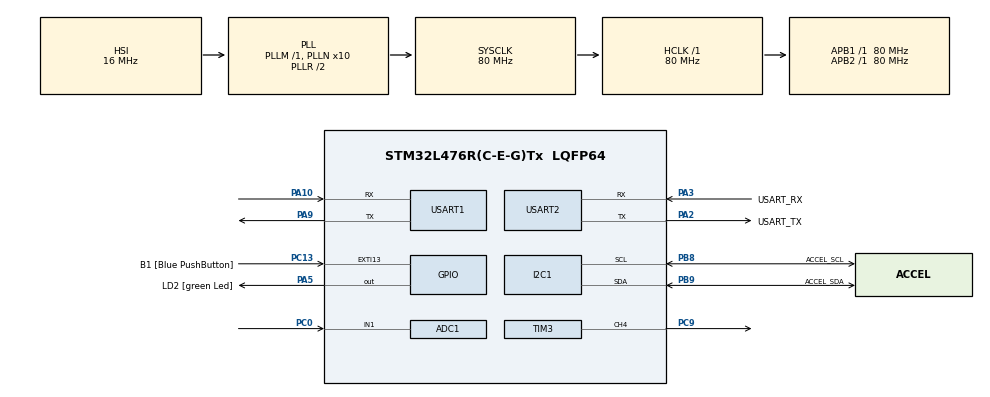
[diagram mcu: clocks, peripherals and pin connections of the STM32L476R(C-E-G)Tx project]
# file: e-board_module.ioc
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ADC1.Channel-3\#ChannelRegularConversion=ADC_CHANNEL_1
ADC1.NbrOfConversionFlag=1
ADC1.OffsetNumber-3\#ChannelRegularConversion=ADC_OFFSET_NONE
ADC1.Rank-3\#ChannelRegularConversion=1
ADC1.SamplingTime-3\#ChannelRegularConversion=ADC_SAMPLETIME_2CYCLES_5
ADC1.master=1
Dma.I2C1_RX.1.Direction=DMA_PERIPH_TO_MEMORY
Dma.I2C1_RX.1.Instance=DMA1_Channel7
Dma.I2C1_RX.1.MemDataAlignment=DMA_MDATAALIGN_BYTE
Dma.I2C1_RX.1.MemInc=DMA_MINC_ENABLE
Dma.I2C1_RX.1.Mode=DMA_NORMAL
Dma.I2C1_RX.1.PeriphDataAlignment=DMA_PDATAALIGN_BYTE
Dma.I2C1_RX.1.PeriphInc=DMA_PINC_DISABLE
Dma.I2C1_RX.1.Priority=DMA_PRIORITY_LOW
Dma.Request0=USART1_RX
Dma.Request1=I2C1_RX
Dma.USART1_RX.0.Direction=DMA_PERIPH_TO_MEMORY
Dma.USART1_RX.0.Instance=DMA1_Channel5
Dma.USART1_RX.0.MemDataAlignment=DMA_MDATAALIGN_BYTE
Dma.USART1_RX.0.MemInc=DMA_MINC_ENABLE
Dma.USART1_RX.0.Mode=DMA_NORMAL
Dma.USART1_RX.0.PeriphDataAlignment=DMA_PDATAALIGN_BYTE
Dma.USART1_RX.0.PeriphInc=DMA_PINC_DISABLE
Dma.USART1_RX.0.Priority=DMA_PRIORITY_HIGH
FREERTOS.Tasks01=defaultTask,24,128,StartDefaultTask,Default,NULL,Dynamic,NULL,NULL;readThrottle,32,128,ReadThrottle,Default,NULL,Dynamic,NULL,NULL;sendSpeed,8,128,SendSpeed,Default,NULL,Dynamic,NULL,NULL;accelUpdateTask,8,128,startAccelUpdateTask,Default,NULL,Dynamic,NULL,NULL
FREERTOS.configUSE_NEWLIB_REENTRANT=1
I2C1.Timing=0x10909CEC
Mcu.Family=STM32L4
Mcu.Name=STM32L476R(C-E-G)Tx
Mcu.Package=LQFP64
NVIC.DMA1_Channel5_IRQn=true\:5\:0\:false\:false\:true\:true\:false\:true\:true
NVIC.DMA1_Channel7_IRQn=true\:5\:0\:false\:false\:true\:true\:false\:true\:true
NVIC.PriorityGroup=NVIC_PRIORITYGROUP_4
NVIC.TIM6_DAC_IRQn=true\:15\:0\:false\:false\:true\:false\:false\:true\:true
NVIC.TIM7_IRQn=true\:5\:0\:false\:false\:true\:true\:true\:true\:true
NVIC.TimeBase=TIM6_DAC_IRQn
NVIC.TimeBaseIP=TIM6
NVIC.USART1_IRQn=true\:5\:0\:false\:false\:true\:true\:true\:true\:true
PA10.Mode=Asynchronous
PA10.Signal=USART1_RX
PA13\ (JTMS-SWDIO).GPIO_Label=TMS
PA13\ (JTMS-SWDIO).Mode=Serial_Wire
PA13\ (JTMS-SWDIO).Signal=SYS_JTMS-SWDIO
PA14\ (JTCK-SWCLK).GPIO_Label=TCK
PA14\ (JTCK-SWCLK).Mode=Serial_Wire
PA14\ (JTCK-SWCLK).Signal=SYS_JTCK-SWCLK
PA2.GPIO_Label=USART_TX
PA2.GPIO_Mode=GPIO_MODE_AF_PP
PA2.GPIO_PuPd=GPIO_NOPULL
PA2.GPIO_Speed=GPIO_SPEED_FREQ_VERY_HIGH
PA2.Mode=Asynchronous
PA2.Signal=USART2_TX
PA3.GPIO_Label=USART_RX
PA3.GPIO_Mode=GPIO_MODE_AF_PP
PA3.GPIO_PuPd=GPIO_NOPULL
PA3.GPIO_Speed=GPIO_SPEED_FREQ_VERY_HIGH
PA3.Mode=Asynchronous
PA3.Signal=USART2_RX
PA5.GPIO_Label=LD2 [green Led]
PA5.GPIO_ModeDefaultOutputPP=GPIO_MODE_OUTPUT_PP
PA5.GPIO_PuPd=GPIO_NOPULL
PA5.GPIO_Speed=GPIO_SPEED_FREQ_LOW
PA5.Signal=GPIO_Output
PA9.Mode=Asynchronous
PA9.Signal=USART1_TX
PB3\ (JTDO-TRACESWO).GPIO_Label=SWO
PB3\ (JTDO-TRACESWO).Signal=SYS_JTDO-SWO
PB8.GPIO_Label=ACCEL_SCL
PB8.Mode=I2C
PB8.Signal=I2C1_SCL
PB9.GPIO_Label=ACCEL_SDA
PB9.Mode=I2C
PB9.Signal=I2C1_SDA
PC0.Signal=ADCx_IN1
PC13.GPIO_Label=B1 [Blue PushButton]
PC13.GPIO_ModeDefaultEXTI=GPIO_MODE_IT_FALLING
PC13.GPIO_PuPd=GPIO_NOPULL
PC13.Signal=GPXTI13
PC14-OSC32_IN\ (PC14).Mode=LSE-External-Oscillator
PC14-OSC32_IN\ (PC14).Signal=RCC_OSC32_IN
PC15-OSC32_OUT\ (PC15).Mode=LSE-External-Oscillator
PC15-OSC32_OUT\ (PC15).Signal=RCC_OSC32_OUT
PC9.Signal=S_TIM3_CH4
PH0-OSC_IN\ (PH0).Signal=RCC_OSC_IN
PH1-OSC_OUT\ (PH1).Signal=RCC_OSC_OUT
ProjectManager.HeapSize=0x200
ProjectManager.StackSize=0x400
ProjectManager.TargetToolchain=STM32CubeIDE
RCC.ADCFreq_Value=64000000
RCC.AHBFreq_Value=80000000
RCC.APB1Freq_Value=80000000
RCC.APB1TimFreq_Value=80000000
RCC.APB2Freq_Value=80000000
RCC.APB2TimFreq_Value=80000000
RCC.CortexFreq_Value=80000000
RCC.HCLKFreq_Value=80000000
RCC.HSE_VALUE=8000000
RCC.HSI_VALUE=16000000
RCC.MSI_VALUE=4000000
RCC.PLLN=10
RCC.PLLSourceVirtual=RCC_PLLSOURCE_HSI
RCC.PREFETCH_ENABLE=1
RCC.SYSCLKFreq_VALUE=80000000
RCC.SYSCLKSource=RCC_SYSCLKSOURCE_PLLCLK
RCC.USBFreq_Value=64000000
RCC.VCOOutputFreq_Value=160000000
SH.ADCx_IN1.0=ADC1_IN1,IN1-Single-Ended
SH.S_TIM3_CH4.0=TIM3_CH4,PWM Generation4 CH4
TIM2.AutoReloadPreload=TIM_AUTORELOAD_PRELOAD_ENABLE
TIM2.ClockDivision=TIM_CLOCKDIVISION_DIV4
TIM2.Period=0xffffffff
TIM2.Prescaler=10000-1
TIM3.AutoReloadPreload=TIM_AUTORELOAD_PRELOAD_ENABLE
TIM3.Channel-PWM\ Generation4\ CH4=TIM_CHANNEL_4
TIM3.Period=1600-1
TIM3.Prescaler=1000-1
TIM7.Period=6000-1
TIM7.Prescaler=65000-1
USART1.VirtualMode-Asynchronous=VM_ASYNC
USART2.VirtualMode-Asynchronous=VM_ASYNC
VP_FREERTOS_VS_CMSIS_V2.Mode=CMSIS_V2
VP_SYS_VS_tim6.Mode=TIM6
VP_TIM2_VS_ClockSourceINT.Mode=Internal
VP_TIM3_VS_ClockSourceINT.Mode=Internal
VP_TIM7_VS_ClockSourceINT.Mode=Enable_Timer
board=NUCLEO-L476RG

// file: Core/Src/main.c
/* USER CODE BEGIN Header */
/**
  ******************************************************************************
  * @file           : main.c
  * @brief          : Main program body
  ******************************************************************************
  * @attention
  *
  * Copyright (c) 2023 STMicroelectronics.
  * All rights reserved.
  *
  * This software is licensed under terms that can be found in the LICENSE file
  * in the root directory of this software component.
  * If no LICENSE file comes with this software, it is provided AS-IS.
  *
  ******************************************************************************
  */
/* USER CODE END Header */
#include "main.h"
#include "cmsis_os.h"

/* USER CODE BEGIN Includes */
#include <string.h>
#include <stdio.h>
#include <math.h>
#include <stdbool.h>
#include "spatial-lib/include/interface.h"
/* USER CODE END Includes */

/* USER CODE BEGIN PM */
#define I2C_DELAY 50			 // I2C Delay 50ms
#define STM_LORA_ADDRESS 24      // Address of the STM Lora chip
#define ESP_LORA_ADDRESS 25      // Address of the ESP Lora chip
#define Min_PWM 80			 	 // PWM signal at 80 is 0 throttle for the ESC
#define Max_PWM 160		 		 // PWM signal at 160 is full throttle for the ESC
#define Min_Throttle 0			 // 0 throttle
#define Max_Throttle 80			 // 80 is the max throttle to add to the PWM
#define LORA_BUFFER_SIZE 105
/* USER CODE END PM */

ADC_HandleTypeDef hadc1;

I2C_HandleTypeDef hi2c1;
DMA_HandleTypeDef hdma_i2c1_rx;

TIM_HandleTypeDef htim2;
TIM_HandleTypeDef htim3;
TIM_HandleTypeDef htim7;

UART_HandleTypeDef huart1;
UART_HandleTypeDef huart2;
DMA_HandleTypeDef hdma_usart1_rx;

/* Definitions for defaultTask */
osThreadId_t defaultTaskHandle;
const osThreadAttr_t defaultTask_attributes = {
  .name = "defaultTask",
  .stack_size = 128 * 4,
  .priority = (osPriority_t) osPriorityNormal,
};
/* Definitions for readThrottle */
osThreadId_t readThrottleHandle;
const osThreadAttr_t readThrottle_attributes = {
  .name = "readThrottle",
  .stack_size = 128 * 4,
  .priority = (osPriority_t) osPriorityAboveNormal,
};
/* Definitions for sendSpeed */
osThreadId_t sendSpeedHandle;
const osThreadAttr_t sendSpeed_attributes = {
  .name = "sendSpeed",
  .stack_size = 128 * 4,
  .priority = (osPriority_t) osPriorityLow,
};
/* Definitions for accelUpdateTask */
osThreadId_t accelUpdateTaskHandle;
const osThreadAttr_t accelUpdateTask_attributes = {
  .name = "accelUpdateTask",
  .stack_size = 128 * 4,
  .priority = (osPriority_t) osPriorityLow,
};
/* USER CODE BEGIN PV */
char UART1_rxBuffer[LORA_BUFFER_SIZE]; // Raw data from LORA RX
char receive_data[4];    // Data stripped from LORA RX
int throttle;
float speed;
/* USER CODE END PV */

void SystemClock_Config(void);
static void MX_GPIO_Init(void);
static void MX_DMA_Init(void);
static void MX_USART2_UART_Init(void);
static void MX_TIM3_Init(void);
static void MX_ADC1_Init(void);
static void MX_I2C1_Init(void);
static void MX_TIM2_Init(void);
static void MX_USART1_UART_Init(void);
static void MX_TIM7_Init(void);
void StartDefaultTask(void *argument);
void ReadThrottle(void *argument);
void SendSpeed(void *argument);
void startAccelUpdateTask(void *argument);

/* USER CODE BEGIN PFP */
void Lora_Init(void);
void Lora_Send_Data(char data[]);
void Parse_Recieve_Data(void);
void Smooth_Speed(int tempThrottle);
void Error_Slow_Down(void);
/* USER CODE END PFP */

int main(void)
{

  /* MCU Configuration--------------------------------------------------------*/

  /* Reset of all peripherals, Initializes the Flash interface and the Systick. */
  HAL_Init();

  /* Configure the system clock */
  SystemClock_Config();

  /* Initialize all configured peripherals */
  MX_GPIO_Init();
  MX_DMA_Init();
  MX_USART2_UART_Init();
  MX_TIM3_Init();
  MX_ADC1_Init();
  MX_I2C1_Init();
  MX_TIM2_Init();
  MX_USART1_UART_Init();
  MX_TIM7_Init();
  /* USER CODE BEGIN 2 */

  // Start the longboard by initializing the motor throttle to 0
  char StartMsg[100];
  sprintf(StartMsg, "\r\nStarting the LongBoard!\r\n");
  HAL_UART_Transmit(&huart2, StartMsg, strlen(StartMsg), 50);
  HAL_TIM_PWM_Start(&htim3, TIM_CHANNEL_4);
  TIM3->CCR4 =  Min_PWM;
  HAL_Delay(5000);

  init_spatial(&hi2c1, &huart2);
  sprintf(StartMsg, "\r\nInitialized Accelerometer!\r\n");
  HAL_UART_Transmit(&huart2, StartMsg, strlen(StartMsg), 50);

  sprintf(StartMsg, "\r\nInitialized Throttle!\r\n");
  HAL_UART_Transmit(&huart2, StartMsg, strlen(StartMsg), 50);
  throttle = Min_Throttle;

  Lora_Init();
  sprintf(StartMsg, "\r\nInitialized LORA!\r\n");
  HAL_UART_Transmit(&huart2, StartMsg, strlen(StartMsg), 50);
  /* USER CODE END 2 */

  /* Init scheduler */
  osKernelInitialize();

  /* Create the thread(s) */
  /* creation of defaultTask */
  defaultTaskHandle = osThreadNew(StartDefaultTask, NULL, &defaultTask_attributes);

  /* creation of readThrottle */
  readThrottleHandle = osThreadNew(ReadThrottle, NULL, &readThrottle_attributes);

  /* creation of sendSpeed */
  sendSpeedHandle = osThreadNew(SendSpeed, NULL, &sendSpeed_attributes);

  /* creation of accelUpdateTask */
  accelUpdateTaskHandle = osThreadNew(startAccelUpdateTask, NULL, &accelUpdateTask_attributes);

  /* Start scheduler */
  osKernelStart();

  /* We should never get here as control is now taken by the scheduler */
  /* Infinite loop */
  while (1)
  {

  }
}

void SystemClock_Config(void)
{
  RCC_OscInitTypeDef RCC_OscInitStruct = {0};
  RCC_ClkInitTypeDef RCC_ClkInitStruct = {0};

  /** Configure the main internal regulator output voltage
  */
  if (HAL_PWREx_ControlVoltageScaling(PWR_REGULATOR_VOLTAGE_SCALE1) != HAL_OK)
  {
    Error_Handler();
  }

  /** Initializes the RCC Oscillators according to the specified parameters
  * in the RCC_OscInitTypeDef structure.
  */
  RCC_OscInitStruct.OscillatorType = RCC_OSCILLATORTYPE_HSI;
  RCC_OscInitStruct.HSIState = RCC_HSI_ON;
  RCC_OscInitStruct.HSICalibrationValue = RCC_HSICALIBRATION_DEFAULT;
  RCC_OscInitStruct.PLL.PLLState = RCC_PLL_ON;
  RCC_OscInitStruct.PLL.PLLSource = RCC_PLLSOURCE_HSI;
  RCC_OscInitStruct.PLL.PLLM = 1;
  RCC_OscInitStruct.PLL.PLLN = 10;
  RCC_OscInitStruct.PLL.PLLP = RCC_PLLP_DIV7;
  RCC_OscInitStruct.PLL.PLLQ = RCC_PLLQ_DIV2;
  RCC_OscInitStruct.PLL.PLLR = RCC_PLLR_DIV2;
  if (HAL_RCC_OscConfig(&RCC_OscInitStruct) != HAL_OK)
  {
    Error_Handler();
  }

  /** Initializes the CPU, AHB and APB buses clocks
  */
  RCC_ClkInitStruct.ClockType = RCC_CLOCKTYPE_HCLK|RCC_CLOCKTYPE_SYSCLK
                              |RCC_CLOCKTYPE_PCLK1|RCC_CLOCKTYPE_PCLK2;
  RCC_ClkInitStruct.SYSCLKSource = RCC_SYSCLKSOURCE_PLLCLK;
  RCC_ClkInitStruct.AHBCLKDivider = RCC_SYSCLK_DIV1;
  RCC_ClkInitStruct.APB1CLKDivider = RCC_HCLK_DIV1;
  RCC_ClkInitStruct.APB2CLKDivider = RCC_HCLK_DIV1;

  if (HAL_RCC_ClockConfig(&RCC_ClkInitStruct, FLASH_LATENCY_4) != HAL_OK)
  {
    Error_Handler();
  }
}

static void MX_ADC1_Init(void)
{

  ADC_MultiModeTypeDef multimode = {0};
  ADC_ChannelConfTypeDef sConfig = {0};

  /** Common config
  */
  hadc1.Instance = ADC1;
  hadc1.Init.ClockPrescaler = ADC_CLOCK_ASYNC_DIV1;
  hadc1.Init.Resolution = ADC_RESOLUTION_12B;
  hadc1.Init.DataAlign = ADC_DATAALIGN_RIGHT;
  hadc1.Init.ScanConvMode = ADC_SCAN_DISABLE;
  hadc1.Init.EOCSelection = ADC_EOC_SINGLE_CONV;
  hadc1.Init.LowPowerAutoWait = DISABLE;
  hadc1.Init.ContinuousConvMode = DISABLE;
  hadc1.Init.NbrOfConversion = 1;
  hadc1.Init.DiscontinuousConvMode = DISABLE;
  hadc1.Init.ExternalTrigConv = ADC_SOFTWARE_START;
  hadc1.Init.ExternalTrigConvEdge = ADC_EXTERNALTRIGCONVEDGE_NONE;
  hadc1.Init.DMAContinuousRequests = DISABLE;
  hadc1.Init.Overrun = ADC_OVR_DATA_PRESERVED;
  hadc1.Init.OversamplingMode = DISABLE;
  if (HAL_ADC_Init(&hadc1) != HAL_OK)
  {
    Error_Handler();
  }

  /** Configure the ADC multi-mode
  */
  multimode.Mode = ADC_MODE_INDEPENDENT;
  if (HAL_ADCEx_MultiModeConfigChannel(&hadc1, &multimode) != HAL_OK)
  {
    Error_Handler();
  }

  /** Configure Regular Channel
  */
  sConfig.Channel = ADC_CHANNEL_1;
  sConfig.Rank = ADC_REGULAR_RANK_1;
  sConfig.SamplingTime = ADC_SAMPLETIME_2CYCLES_5;
  sConfig.SingleDiff = ADC_SINGLE_ENDED;
  sConfig.OffsetNumber = ADC_OFFSET_NONE;
  sConfig.Offset = 0;
  if (HAL_ADC_ConfigChannel(&hadc1, &sConfig) != HAL_OK)
  {
    Error_Handler();
  }

}

static void MX_I2C1_Init(void)
{

  hi2c1.Instance = I2C1;
  hi2c1.Init.Timing = 0x10909CEC;
  hi2c1.Init.OwnAddress1 = 0;
  hi2c1.Init.AddressingMode = I2C_ADDRESSINGMODE_7BIT;
  hi2c1.Init.DualAddressMode = I2C_DUALADDRESS_DISABLE;
  hi2c1.Init.OwnAddress2 = 0;
  hi2c1.Init.OwnAddress2Masks = I2C_OA2_NOMASK;
  hi2c1.Init.GeneralCallMode = I2C_GENERALCALL_DISABLE;
  hi2c1.Init.NoStretchMode = I2C_NOSTRETCH_DISABLE;
  if (HAL_I2C_Init(&hi2c1) != HAL_OK)
  {
    Error_Handler();
  }

  /** Configure Analogue filter
  */
  if (HAL_I2CEx_ConfigAnalogFilter(&hi2c1, I2C_ANALOGFILTER_ENABLE) != HAL_OK)
  {
    Error_Handler();
  }

  /** Configure Digital filter
  */
  if (HAL_I2CEx_ConfigDigitalFilter(&hi2c1, 0) != HAL_OK)
  {
    Error_Handler();
  }

}

static void MX_TIM2_Init(void)
{

  TIM_ClockConfigTypeDef sClockSourceConfig = {0};
  TIM_MasterConfigTypeDef sMasterConfig = {0};

  htim2.Instance = TIM2;
  htim2.Init.Prescaler = 10000-1;
  htim2.Init.CounterMode = TIM_COUNTERMODE_UP;
  htim2.Init.Period = 0xffffffff;
  htim2.Init.ClockDivision = TIM_CLOCKDIVISION_DIV4;
  htim2.Init.AutoReloadPreload = TIM_AUTORELOAD_PRELOAD_ENABLE;
  if (HAL_TIM_Base_Init(&htim2) != HAL_OK)
  {
    Error_Handler();
  }
  sClockSourceConfig.ClockSource = TIM_CLOCKSOURCE_INTERNAL;
  if (HAL_TIM_ConfigClockSource(&htim2, &sClockSourceConfig) != HAL_OK)
  {
    Error_Handler();
  }
  sMasterConfig.MasterOutputTrigger = TIM_TRGO_RESET;
  sMasterConfig.MasterSlaveMode = TIM_MASTERSLAVEMODE_DISABLE;
  if (HAL_TIMEx_MasterConfigSynchronization(&htim2, &sMasterConfig) != HAL_OK)
  {
    Error_Handler();
  }

}

static void MX_TIM3_Init(void)
{

  TIM_ClockConfigTypeDef sClockSourceConfig = {0};
  TIM_MasterConfigTypeDef sMasterConfig = {0};
  TIM_OC_InitTypeDef sConfigOC = {0};

  htim3.Instance = TIM3;
  htim3.Init.Prescaler = 1000-1;
  htim3.Init.CounterMode = TIM_COUNTERMODE_UP;
  htim3.Init.Period = 1600-1;
  htim3.Init.ClockDivision = TIM_CLOCKDIVISION_DIV1;
  htim3.Init.AutoReloadPreload = TIM_AUTORELOAD_PRELOAD_ENABLE;
  if (HAL_TIM_Base_Init(&htim3) != HAL_OK)
  {
    Error_Handler();
  }
  sClockSourceConfig.ClockSource = TIM_CLOCKSOURCE_INTERNAL;
  if (HAL_TIM_ConfigClockSource(&htim3, &sClockSourceConfig) != HAL_OK)
  {
    Error_Handler();
  }
  if (HAL_TIM_PWM_Init(&htim3) != HAL_OK)
  {
    Error_Handler();
  }
  sMasterConfig.MasterOutputTrigger = TIM_TRGO_RESET;
  sMasterConfig.MasterSlaveMode = TIM_MASTERSLAVEMODE_DISABLE;
  if (HAL_TIMEx_MasterConfigSynchronization(&htim3, &sMasterConfig) != HAL_OK)
  {
    Error_Handler();
  }
  sConfigOC.OCMode = TIM_OCMODE_PWM1;
  sConfigOC.Pulse = 0;
  sConfigOC.OCPolarity = TIM_OCPOLARITY_HIGH;
  sConfigOC.OCFastMode = TIM_OCFAST_DISABLE;
  if (HAL_TIM_PWM_ConfigChannel(&htim3, &sConfigOC, TIM_CHANNEL_4) != HAL_OK)
  {
    Error_Handler();
  }
  HAL_TIM_MspPostInit(&htim3);

}

static void MX_TIM7_Init(void)
{

  TIM_MasterConfigTypeDef sMasterConfig = {0};

  htim7.Instance = TIM7;
  htim7.Init.Prescaler = 65000-1;
  htim7.Init.CounterMode = TIM_COUNTERMODE_UP;
  htim7.Init.Period = 6000-1;
  htim7.Init.AutoReloadPreload = TIM_AUTORELOAD_PRELOAD_DISABLE;
  if (HAL_TIM_Base_Init(&htim7) != HAL_OK)
  {
    Error_Handler();
  }
  sMasterConfig.MasterOutputTrigger = TIM_TRGO_RESET;
  sMasterConfig.MasterSlaveMode = TIM_MASTERSLAVEMODE_DISABLE;
  if (HAL_TIMEx_MasterConfigSynchronization(&htim7, &sMasterConfig) != HAL_OK)
  {
    Error_Handler();
  }

}

static void MX_USART1_UART_Init(void)
{

  huart1.Instance = USART1;
  huart1.Init.BaudRate = 115200;
  huart1.Init.WordLength = UART_WORDLENGTH_8B;
  huart1.Init.StopBits = UART_STOPBITS_1;
  huart1.Init.Parity = UART_PARITY_NONE;
  huart1.Init.Mode = UART_MODE_TX_RX;
  huart1.Init.HwFlowCtl = UART_HWCONTROL_NONE;
  huart1.Init.OverSampling = UART_OVERSAMPLING_16;
  huart1.Init.OneBitSampling = UART_ONE_BIT_SAMPLE_DISABLE;
  huart1.AdvancedInit.AdvFeatureInit = UART_ADVFEATURE_NO_INIT;
  if (HAL_UART_Init(&huart1) != HAL_OK)
  {
    Error_Handler();
  }

}

static void MX_USART2_UART_Init(void)
{

  huart2.Instance = USART2;
  huart2.Init.BaudRate = 115200;
  huart2.Init.WordLength = UART_WORDLENGTH_8B;
  huart2.Init.StopBits = UART_STOPBITS_1;
  huart2.Init.Parity = UART_PARITY_NONE;
  huart2.Init.Mode = UART_MODE_TX_RX;
  huart2.Init.HwFlowCtl = UART_HWCONTROL_NONE;
  huart2.Init.OverSampling = UART_OVERSAMPLING_16;
  huart2.Init.OneBitSampling = UART_ONE_BIT_SAMPLE_DISABLE;
  huart2.AdvancedInit.AdvFeatureInit = UART_ADVFEATURE_NO_INIT;
  if (HAL_UART_Init(&huart2) != HAL_OK)
  {
    Error_Handler();
  }

}

static void MX_DMA_Init(void)
{

  /* DMA controller clock enable */
  __HAL_RCC_DMA1_CLK_ENABLE();

  /* DMA interrupt init */
  /* DMA1_Channel5_IRQn interrupt configuration */
  HAL_NVIC_SetPriority(DMA1_Channel5_IRQn, 5, 0);
  HAL_NVIC_EnableIRQ(DMA1_Channel5_IRQn);
  /* DMA1_Channel7_IRQn interrupt configuration */
  HAL_NVIC_SetPriority(DMA1_Channel7_IRQn, 5, 0);
  HAL_NVIC_EnableIRQ(DMA1_Channel7_IRQn);

}

static void MX_GPIO_Init(void)
{
  GPIO_InitTypeDef GPIO_InitStruct = {0};

  /* GPIO Ports Clock Enable */
  __HAL_RCC_GPIOC_CLK_ENABLE();
  __HAL_RCC_GPIOH_CLK_ENABLE();
  __HAL_RCC_GPIOA_CLK_ENABLE();
  __HAL_RCC_GPIOB_CLK_ENABLE();

  /*Configure GPIO pin Output Level */
  HAL_GPIO_WritePin(LD2_GPIO_Port, LD2_Pin, GPIO_PIN_RESET);

  /*Configure GPIO pin : B1_Pin */
  GPIO_InitStruct.Pin = B1_Pin;
  GPIO_InitStruct.Mode = GPIO_MODE_IT_FALLING;
  GPIO_InitStruct.Pull = GPIO_NOPULL;
  HAL_GPIO_Init(B1_GPIO_Port, &GPIO_InitStruct);

  /*Configure GPIO pin : LD2_Pin */
  GPIO_InitStruct.Pin = LD2_Pin;
  GPIO_InitStruct.Mode = GPIO_MODE_OUTPUT_PP;
  GPIO_InitStruct.Pull = GPIO_NOPULL;
  GPIO_InitStruct.Speed = GPIO_SPEED_FREQ_LOW;
  HAL_GPIO_Init(LD2_GPIO_Port, &GPIO_InitStruct);

}

/* USER CODE BEGIN 4 */

void Lora_Init(void)
{
	// Set LORA Chip To Transmit/Receive Mode
	char msg[100] = "";
	// Sets Parameters to:
	// Spreading Factor: 7
	// Bandwidth: 500 KHz
	// Coding Rate: 1
	// Programmed Preamble: 10
	// This favors speed over dependabilitySerial2.println("AT+PARAMETER=7,9,1,4");
	sprintf(msg, "AT+PARAMETER=10,8,1,4\r\n");
	HAL_UART_Transmit(&huart1, (uint8_t*)msg, strlen(msg), HAL_MAX_DELAY);
	HAL_Delay(1000);

	// Sets LORA Chip address to 24
	sprintf(msg, "AT+ADDRESS=24\r\n");
	HAL_UART_Transmit(&huart1, (uint8_t*)msg, strlen(msg), HAL_MAX_DELAY);
	HAL_Delay(500);

	// Reads back address to verify setup
	sprintf(msg, "AT+NETWORKID=3\r\n");
	HAL_UART_Transmit(&huart1, (uint8_t*)msg, strlen(msg), HAL_MAX_DELAY);
	HAL_Delay(500);

	sprintf(msg, "AT+CPIN?\r\n");
	HAL_UART_Transmit(&huart1, (uint8_t*)msg, strlen(msg), HAL_MAX_DELAY);
	HAL_Delay(500);

	sprintf(msg, "AT+CRFOP?\r\n");
	HAL_UART_Transmit(&huart1, (uint8_t*)msg, strlen(msg), HAL_MAX_DELAY);
	HAL_Delay(500);

	sprintf(msg, "AT+ADDRESS?\r\n");
	HAL_UART_Transmit(&huart1, (uint8_t*)msg, strlen(msg), HAL_MAX_DELAY);
	HAL_Delay(500);

	sprintf(msg, "AT+NETWORKID?\r\n");
	HAL_UART_Transmit(&huart1, (uint8_t*)msg, strlen(msg), HAL_MAX_DELAY);
	HAL_Delay(500);

	sprintf(msg, "AT+BAND?\r\n");
	HAL_UART_Transmit(&huart1, (uint8_t*)msg, strlen(msg), HAL_MAX_DELAY);
	HAL_Delay(500);

	sprintf(msg, "AT+MODE=0\r\n");
	HAL_UART_Transmit(&huart1, (uint8_t*)msg, strlen(msg), HAL_MAX_DELAY);
	HAL_Delay(500);
}

void Lora_Send_Data(char data[])
{
	// Combines message to be sent with the data passed in
	char LoraMsg[100];
	sprintf(LoraMsg, "AT+SEND=%i,%i,%s\r\n", ESP_LORA_ADDRESS, strlen(data), data);
	HAL_UART_Transmit(&huart1, LoraMsg, strlen(LoraMsg), 50);
	osThreadSuspend(readThrottleHandle);
	osDelay(200);
	osThreadResume(readThrottleHandle);

}

void Parse_Recieve_Data(void)
{
	// Find the position of "T" in the array
		bool good = true;

	    char *start = strrchr(UART1_rxBuffer, 'T');

	    // Check if "T" is found
	    if (start != NULL)
	    {
	    	buffer_print(start, "str from start of parse");
	        // Find the position of the next comma after "S"
	        char *end = strchr(start, ',');

	        // Check if the comma is found
	        if (end != NULL)
	        {

	        	char *error = strchr(receive_data, '-');
	        	if (error != NULL)
	        	{
	        		good = false;
	        	}
	        	error = strchr(receive_data, '+');
	        	if (error != NULL)
	        	{
	        		good = false;
	        	}
	        	error = strchr(receive_data, '=');
	        	if (error != NULL)
	        	{
	        		good = false;
	        	}
	        	error = strchr(receive_data, ',');
	        	if (error != NULL)
	        	{
	        		good = false;
	        	}
	        	error = strchr(receive_data, ' ');
	        	if (error != NULL)
	        	{
	        		good = false;
	        	}

	        	if (good)
	        	{
	        		// Calculate the length of the substring
	        		size_t length = end - start;
	        		if (length > 4)
	        			return;

	        		// Copy the substring to the buffer
	        		strncpy(receive_data, start, length);

	        		// Null-terminate the buffer
	        		receive_data[length] = '\0';
	        	}

	        }
	    }
}

// Get stored time in timer 2 in terms of seconds
double get_timestep() {
	long double cur_time = TIM2->CNT;
	// Reset timer for next call
	TIM2->CNT = 0;
	// Division to make time in terms of seconds
	cur_time /= 8000;
	return (double)cur_time;
}

void buffer_print(void* buffer, const char* msg) {
	uint8_t modded_buffer[strlen(buffer) + strlen(msg)];
	sprintf(modded_buffer, "%s: %s\r\n", msg, buffer);
	HAL_UART_Transmit(&huart2, modded_buffer, strlen(modded_buffer), HAL_MAX_DELAY);
}

HAL_StatusTypeDef receive_lora_packet()
{
	bool received_new_packet = false;
	while (!received_new_packet) {
	    HAL_UART_Receive_DMA(&huart1, (uint8_t*)UART1_rxBuffer, 1);
	    if (UART1_rxBuffer[0] == '+')
	    	break;
	}
    HAL_UART_Receive_DMA(&huart1, (uint8_t*)UART1_rxBuffer, LORA_BUFFER_SIZE - 2);
//    buffer_print(UART1_rxBuffer, "rcv portion");
    // Packets MUST be from address 25 and have a length of 3 bytes or they will be discarded
    UART1_rxBuffer[LORA_BUFFER_SIZE - 1] = 0;
    if (UART1_rxBuffer[LORA_BUFFER_SIZE - 2] == 'T')
    	UART1_rxBuffer[LORA_BUFFER_SIZE - 2] = 0;
	buffer_print(UART1_rxBuffer, "rxBuffer");
//    if (strncmp(UART1_rxBuffer, "RCV=25,", 7)) {
//    	return HAL_ERROR;
//    }
    Parse_Recieve_Data();
    buffer_print(receive_data, "data");
//    while (UART1_rxBuffer[0] != '\n') {
//    	HAL_UART_Receive_DMA(&huart1, (uint8_t*)UART1_rxBuffer, 1);
////        buffer_print(UART1_rxBuffer, "garbage char");
//    }
    UART1_rxBuffer[0] = 0;
    TIM2->CNT = 0;

	return HAL_OK;
}

void Smooth_Speed(int tempThrottle)
{
	// If the tempThrottle is above or below Max or Min set it to the Max or Min
	if (tempThrottle < Min_Throttle) {
		tempThrottle = Min_Throttle;
	}
	else if (tempThrottle > Max_Throttle) {
		tempThrottle = Max_Throttle;
	}
	else if (tempThrottle == throttle)
	{

	}

	// see if the difference is bigger than 1 then smooth the throttle increase or decrease
	int diffThrottle = tempThrottle - throttle;
	if (diffThrottle >= -1 && diffThrottle <= 1)
	{
		return;
	}

	if (diffThrottle > 1)
	{
		while (throttle < tempThrottle)
		{
			throttle += 1;
			TIM3->CCR4 =  Min_PWM + throttle;
			HAL_Delay(100);
		}
	}
	else if (diffThrottle < 1)
	{
		while (throttle > tempThrottle)
		{
			throttle -= 1;
			TIM3->CCR4 =  Min_PWM + throttle;
			HAL_Delay(100);
		}
	}
	return;

}
void Error_Slow_Down(void)
{
	  while (throttle > 0)
	  {
		  throttle--;
		  HAL_Delay(50);
	  }
}
/* USER CODE END 4 */

void StartDefaultTask(void *argument)
{
  for(;;)
  {
    osDelay(1);
  }
}

void ReadThrottle(void *argument)
{
  /* USER CODE BEGIN ReadThrottle */
  /* Infinite loop */
  char ThrottleMsg[50];
  for(;;) {
//	HAL_UART_Receive_IT(&huart1, UART1_rxBuffer, 25);

//	Parse_Recieve_Data();
//	HAL_UART_Transmit(&huart2, receive_data, strlen(receive_data), 25);
    receive_lora_packet();

	if (receive_data[0] == 'T') {
		int tempThrottle = atoi(receive_data + 1);
		Smooth_Speed(tempThrottle);
		sprintf(ThrottleMsg, "Set Throttle to: %i", throttle);
		HAL_UART_Transmit(&huart2, ThrottleMsg, strlen(ThrottleMsg), HAL_MAX_DELAY);

	}
  }
  /* USER CODE END ReadThrottle */
}

void SendSpeed(void *argument)
{
  /* USER CODE BEGIN SendSpeed */
  /* Infinite loop */
  for(;;)
  {
	// Calculate Speed
	char formatted_speed[4] = "";
	sprintf(formatted_speed, "S%.1f", current_speed);
	Lora_Send_Data(formatted_speed);
	char formatted_trip[10] = "";
	sprintf(formatted_trip, "D%.0f", current_distance);
	Lora_Send_Data(formatted_trip);
  osDelay(1000);
  }
  /* USER CODE END SendSpeed */
}

void startAccelUpdateTask(void *argument)
{
  /* USER CODE BEGIN startAccelUpdateTask */
  /* Infinite loop */
  for(;;) {
    update_spatial(get_timestep());
  }
  /* USER CODE END startAccelUpdateTask */
}

void HAL_TIM_PeriodElapsedCallback(TIM_HandleTypeDef *htim)
{
  /* USER CODE BEGIN Callback 0 */
  if (htim->Instance == TIM7) {
	Error_Slow_Down();
  }
  /* USER CODE END Callback 0 */
  if (htim->Instance == TIM6) {
    HAL_IncTick();
  }
}

void Error_Handler(void)
{
  /* USER CODE BEGIN Error_Handler_Debug */
  /* User can add his own implementation to report the HAL error return state */
  __disable_irq();
  while (1)
  {
	  if (throttle > 0)
	  {
		  throttle--;
		  HAL_Delay(50);
	  }
  }
  /* USER CODE END Error_Handler_Debug */
}
